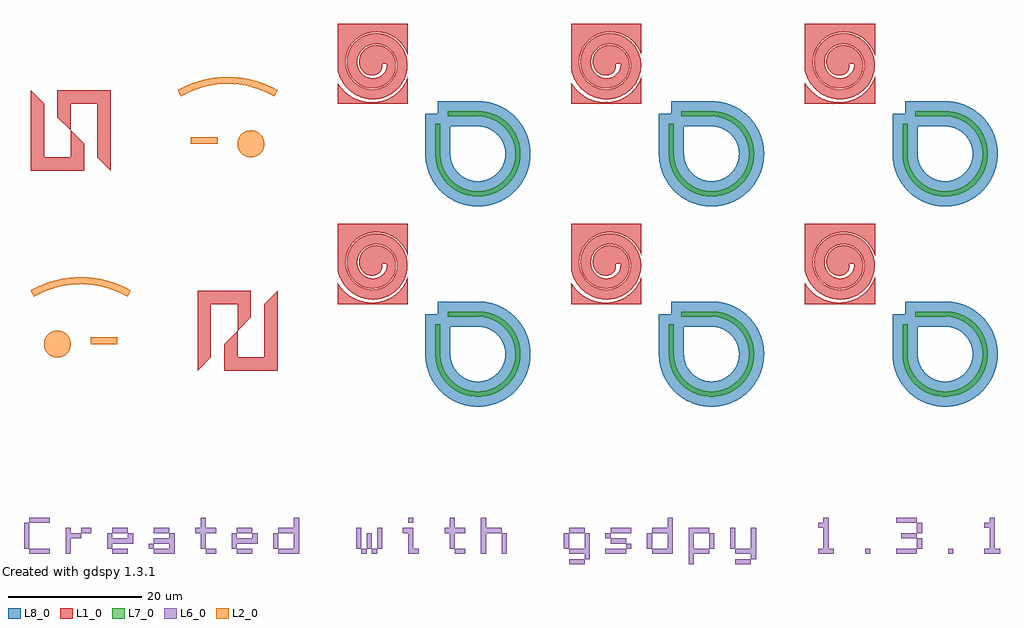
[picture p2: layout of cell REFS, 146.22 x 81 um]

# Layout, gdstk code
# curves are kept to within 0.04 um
from math import pi, radians
import gdstk
lib = gdstk.Library(unit=1e-6, precision=1e-09)
def R(c, l, rs):  # rectangles x0, y0, x1, y1
    for r in rs: c.add(gdstk.rectangle(r[:2], r[2:], *l))
def P(c, l, *ps):  # polygons
    for p in ps: c.add(gdstk.Polygon(p, *l))
L1_0 = (1, 0)
L2_0 = (2, 0)
L6_0 = (6, 0)
L7_0 = (7, 0)
L8_0 = (8, 0)

polygons = lib.new_cell('POLYGONS')
P(polygons, L1_0, [(0,0),(2,2),(2,6),(-6,6),(-6,-6),(-4,-4),(-4,4),(0,4)],
  [(0,0),(-2,-2),(-2,-6),(6,-6),(6,6),(4,4),(4,-4),(0,-4)])
R(polygons, L2_0, [(18,1,22,2)])
P(polygons, L2_0, [(27,2),(29,2),(28.953,2.433),(28.813,2.845),(28.575,3.233),(28.271,3.545)],
  [(27,2),(28.247,3.564),(28.15,3.637),(27.778,3.843),(27.39,3.962),(26.957,4),(26.555,3.95)],
  [(27,2),(26.555,3.95),(26.089,3.781),(25.656,3.482),(25.198,2.868)],
  [(27,2),(25.198,2.868),(25.172,2.813),(25.048,2.438),(25,1.965),(25.048,1.562),(25.198,1.132)],
  [(27,2),(25.198,1.132),(25.656,0.518),(26.089,0.219),(26.555,0.05)],
  [(27,2),(26.555,0.05),(26.957,0),(27.39,0.038),(27.778,0.157),(28.15,0.363),(28.247,0.436)],
  [(27,2),(28.271,0.455),(28.575,0.767),(28.813,1.155),(28.953,1.567),(29,2)],
  [(16,-5.99),(16.866,-6.453),(17.308,-5.556),(16.5,-5.124)],
  [(16.866,-6.453),(17.76,-6.858),(18.142,-5.934),(17.308,-5.556)],
  [(17.76,-6.858),(18.678,-7.204),(19,-6.257),(18.142,-5.934)],
  [(18.678,-7.204),(19.618,-7.489),(19.877,-6.523),(19,-6.257)],
  [(19.618,-7.489),(20.574,-7.712),(20.769,-6.731),(19.877,-6.523)],
  [(20.574,-7.712),(21.542,-7.872),(21.673,-6.88),(20.769,-6.731)],
  [(21.542,-7.872),(22.519,-7.968),(22.584,-6.97),(21.673,-6.88)],
  [(22.519,-7.968),(23.5,-8),(23.5,-7),(22.584,-6.97)],
  [(23.5,-8),(24.481,-7.968),(24.416,-6.97),(23.5,-7)],
  [(24.481,-7.968),(25.458,-7.872),(25.327,-6.88),(24.416,-6.97)],
  [(25.458,-7.872),(26.426,-7.712),(26.231,-6.731),(25.327,-6.88)],
  [(26.426,-7.712),(27.382,-7.489),(27.123,-6.523),(26.231,-6.731)],
  [(27.382,-7.489),(28.322,-7.204),(28,-6.257),(27.123,-6.523)],
  [(28.322,-7.204),(29.24,-6.858),(28.858,-5.934),(28,-6.257)],
  [(29.24,-6.858),(30.134,-6.453),(29.692,-5.556),(28.858,-5.934)],
  [(30.134,-6.453),(31,-5.99),(30.5,-5.124),(29.692,-5.556)])

operations = lib.new_cell('OPERATIONS')
P(operations, L1_0, [(17,-1.27),(16.542,-2.223),(15.813,-3.017),(15.321,-3.355),(14.869,-3.576),(14.289,-3.761),(13.783,-3.843),(12.75,-3.802),(12.139,-3.644),(11.651,-3.437),(10.767,-2.832),(10.389,-2.442),(10,-1.901),(10,-4),(17,-4)],
  [(13.679,-3.547),(14.515,-3.407),(15.364,-3.026),(16.074,-2.44),(16.586,-1.715),(15.343,-1.715),(14.96,-2.068),(14.506,-2.335),(13.996,-2.502),(13.524,-2.557),(12.974,-2.509),(12.438,-2.342),(11.943,-2.061),(11.549,-1.715),(10.39,-1.715),(10.978,-2.489),(11.833,-3.126),(12.733,-3.462)],
  [(13.595,-2.454),(14.046,-2.388),(14.472,-2.241),(14.856,-2.021),(15.207,-1.715),(11.689,-1.715),(12.064,-2.024),(12.547,-2.28),(13.066,-2.424)],
  [(11.513,-1.675),(11.207,-1.263),(10.982,-0.8),(10.023,-0.8),(10.39,-1.715),(11.549,-1.715)],
  [(15.229,-1.691),(15.519,-1.296),(15.731,-0.8),(14.72,-0.8),(14.498,-1.074),(14.231,-1.272),(13.844,-1.423),(13.535,-1.459),(13.18,-1.421),(12.836,-1.296),(12.525,-1.087),(12.264,-0.8),(11.091,-0.8),(11.334,-1.277),(11.689,-1.715)],
  [(13.529,-1.167),(13.914,-1.061),(14.247,-0.8),(12.55,-0.8),(12.754,-0.966),(13.005,-1.094),(13.301,-1.165)],
  [(16.597,-1.695),(16.909,-0.8),(15.835,-0.8),(15.633,-1.299),(15.343,-1.715)],
  [(10.98,-0.795),(10.821,-0.137),(10.816,0.472),(10,0.472),(10.023,-0.8)],
  [(12.242,-0.769),(11.99,-0.161),(11.987,0.472),(10.921,0.472),(10.924,-0.132),(11.091,-0.8)],
  [(15.747,-0.743),(15.817,-0.162),(15.711,0.472),(12.16,0.472),(12.14,0.138),(12.203,-0.22),(12.346,-0.54),(12.55,-0.8),(14.247,-0.8),(14.442,-0.381),(14.41,0),(14.91,0),(14.882,-0.406),(14.72,-0.8),(15.731,-0.8)],
  [(16.916,-0.762),(16.971,-0.142),(16.909,0.472),(15.82,0.472),(15.92,-0.169),(15.835,-0.8)],
  [(10.816,0.475),(10.968,1.158),(11.262,1.762),(10,1.762),(10,0.472)],
  [(11.988,0.477),(12.095,0.838),(12.31,1.214),(12.614,1.535),(12.961,1.762),(11.393,1.762),(11.066,1.116),(10.921,0.472)],
  [(15.698,0.511),(15.31,1.178),(14.726,1.637),(14.422,1.762),(13.307,1.762),(12.879,1.557),(12.533,1.254),(12.29,0.882),(12.16,0.472)],
  [(16.891,0.558),(16.702,1.138),(16.343,1.762),(14.731,1.762),(15.07,1.552),(15.399,1.241),(15.659,0.859),(15.82,0.472),(16.909,0.472)],
  [(17,1.762),(16.538,1.762),(16.821,1.28),(17,0.825)],
  [(17,4),(10,4),(10,1.762),(11.262,1.762),(11.809,2.4),(12.414,2.815),(13.112,3.079),(13.864,3.169),(14.543,3.096),(15.201,2.877),(15.944,2.409),(16.538,1.762),(17,1.762)],
  [(16.31,1.807),(15.776,2.355),(15.21,2.718),(14.507,2.968),(13.774,3.042),(13.133,2.959),(12.461,2.709),(11.878,2.31),(11.393,1.762),(12.961,1.762),(13.382,1.917),(13.85,1.971),(14.329,1.91),(14.731,1.762),(16.343,1.762)],
  [(14.389,1.772),(14.24,1.809),(14.089,1.834),(13.839,1.848),(13.592,1.828),(13.448,1.801),(13.307,1.762),(14.422,1.762)])
R(operations, L7_0, [(19.75,-9,20.25,-6), (21,-5.25,24,-4.75)])
P(operations, L7_0, [(24,-4.75),(24.946,-4.857),(24.834,-5.344),(24,-5.25)],
  [(24.946,-4.857),(25.844,-5.171),(25.627,-5.621),(24.834,-5.344)],
  [(25.844,-5.171),(26.65,-5.677),(26.338,-6.068),(25.627,-5.621)],
  [(26.65,-5.677),(27.323,-6.35),(26.932,-6.662),(26.338,-6.068)],
  [(27.323,-6.35),(27.829,-7.156),(27.379,-7.373),(26.932,-6.662)],
  [(27.829,-7.156),(28.143,-8.054),(27.656,-8.166),(27.379,-7.373)],
  [(28.143,-8.054),(28.25,-9),(27.75,-9),(27.656,-8.166)],
  [(28.25,-9),(28.143,-9.946),(27.656,-9.834),(27.75,-9)],
  [(28.143,-9.946),(27.829,-10.844),(27.379,-10.627),(27.656,-9.834)],
  [(27.829,-10.844),(27.323,-11.65),(26.932,-11.338),(27.379,-10.627)],
  [(27.323,-11.65),(26.65,-12.323),(26.338,-11.932),(26.932,-11.338)],
  [(26.65,-12.323),(25.844,-12.829),(25.627,-12.379),(26.338,-11.932)],
  [(25.844,-12.829),(24.946,-13.143),(24.834,-12.656),(25.627,-12.379)],
  [(24.946,-13.143),(24,-13.25),(24,-12.75),(24.834,-12.656)],
  [(24,-13.25),(23.054,-13.143),(23.166,-12.656),(24,-12.75)],
  [(23.054,-13.143),(22.156,-12.829),(22.373,-12.379),(23.166,-12.656)],
  [(22.156,-12.829),(21.35,-12.323),(21.662,-11.932),(22.373,-12.379)],
  [(21.35,-12.323),(20.677,-11.65),(21.068,-11.338),(21.662,-11.932)],
  [(20.677,-11.65),(20.171,-10.844),(20.621,-10.627),(21.068,-11.338)],
  [(20.171,-10.844),(19.857,-9.946),(20.344,-9.834),(20.621,-10.627)],
  [(19.857,-9.946),(19.75,-9),(20.25,-9),(20.344,-9.834)])
R(operations, L8_0, [(18.75,-8.286,21.25,-6.763)])
P(operations, L8_0, [(24.121,-14.249),(25.217,-14.108),(26.234,-13.752),(21.766,-13.752),(22.248,-13.952),(22.872,-14.128),(23.481,-14.225)],
  [(26.243,-13.747),(27.083,-13.251),(27.952,-12.457),(20.048,-12.457),(20.917,-13.251),(21.766,-13.752)],
  [(27.969,-12.437),(28.548,-11.623),(24.817,-11.623),(24,-11.75),(23.183,-11.623),(19.452,-11.623),(20.048,-12.457)],
  [(23.171,-11.62),(22.712,-11.43),(22.251,-11.121),(19.197,-11.121),(19.452,-11.623)],
  [(28.551,-11.617),(28.803,-11.121),(25.749,-11.121),(25.288,-11.43),(24.817,-11.623)],
  [(22.244,-11.116),(21.888,-10.761),(21.589,-10.32),(18.918,-10.32),(19.197,-11.121)],
  [(28.811,-11.102),(29.082,-10.32),(26.411,-10.32),(26.112,-10.761),(25.749,-11.121)],
  [(21.585,-10.314),(21.288,-9.447),(18.768,-9.447),(18.918,-10.32)],
  [(29.086,-10.306),(29.232,-9.447),(26.712,-9.447),(26.6,-9.895),(26.411,-10.32)],
  [(18.751,-9.123),(18.768,-9.447),(21.288,-9.447),(21.25,-8.286),(18.75,-8.286)],
  [(29.233,-9.435),(29.202,-8.286),(26.653,-8.286),(26.747,-8.895),(26.712,-9.447)],
  [(29.201,-8.276),(29.057,-7.583),(28.751,-6.763),(25.599,-6.763),(25.952,-7.063),(26.283,-7.467),(26.653,-8.286)],
  [(28.747,-6.754),(28.366,-6.08),(27.885,-5.467),(18.75,-5.467),(18.75,-6.763),(21.25,-6.763),(21.25,-6.25),(24.335,-6.271),(24.965,-6.425),(25.599,-6.763)],
  [(27.877,-5.459),(27.117,-4.774),(26.246,-4.253),(25.32,-3.917),(24.301,-3.757),(20,-3.75),(20,-5),(18.75,-5),(18.75,-5.467)])

refs = lib.new_cell('REFS')
R(refs, L6_0, [(43.556,-33.444,44.333,-32.667), (45.111,-33.444,45.889,-32.667), (119,-33.444,119.778,-32.667), (131.444,-33.444,132.222,-32.667), (11.667,-32.667,12.444,-31.889), (83.222,-32.667,84,-31.889), (80.111,-31.111,80.889,-30.333), (50.556,-28.778,51.333,-28)])
P(refs, L6_0, [(-7,-32.667),(-6.222,-32.667),(-6.222,-31.889),(-6.222,-31.111),(-6.222,-30.333),(-6.222,-29.556),(-6.222,-28.778),(-7,-28.778),(-7,-29.556),(-7,-30.333),(-7,-31.111),(-7,-31.889)],
  [(-6.222,-33.444),(-5.444,-33.444),(-4.667,-33.444),(-3.889,-33.444),(-3.111,-33.444),(-3.111,-32.667),(-3.889,-32.667),(-4.667,-32.667),(-5.444,-32.667),(-6.222,-32.667)],
  [(-6.222,-28.778),(-5.444,-28.778),(-4.667,-28.778),(-3.889,-28.778),(-3.111,-28.778),(-3.111,-28),(-3.889,-28),(-4.667,-28),(-5.444,-28),(-6.222,-28)],
  [(-0.778,-33.444),(0,-33.444),(0,-32.667),(0,-31.889),(0,-31.111),(0.778,-31.111),(1.556,-31.111),(1.556,-30.333),(0.778,-30.333),(0,-30.333),(0,-29.556),(-0.778,-29.556),(-0.778,-30.333),(-0.778,-31.111),(-0.778,-31.889),(-0.778,-32.667)],
  [(1.556,-30.333),(2.333,-30.333),(3.111,-30.333),(3.111,-29.556),(2.333,-29.556),(1.556,-29.556)],
  [(5.444,-32.667),(6.222,-32.667),(6.222,-31.889),(7,-31.889),(7.778,-31.889),(8.556,-31.889),(9.333,-31.889),(9.333,-31.111),(9.333,-30.333),(8.556,-30.333),(8.556,-31.111),(7.778,-31.111),(7,-31.111),(6.222,-31.111),(6.222,-30.333),(5.444,-30.333),(5.444,-31.111),(5.444,-31.889)],
  [(6.222,-33.444),(7,-33.444),(7.778,-33.444),(8.556,-33.444),(8.556,-32.667),(7.778,-32.667),(7,-32.667),(6.222,-32.667)],
  [(6.222,-30.333),(7,-30.333),(7.778,-30.333),(8.556,-30.333),(8.556,-29.556),(7.778,-29.556),(7,-29.556),(6.222,-29.556)],
  [(12.444,-33.444),(13.222,-33.444),(14,-33.444),(14.778,-33.444),(15.556,-33.444),(15.556,-32.667),(15.556,-31.889),(15.556,-31.111),(15.556,-30.333),(14.778,-30.333),(14.778,-31.111),(14,-31.111),(13.222,-31.111),(12.444,-31.111),(12.444,-31.889),(13.222,-31.889),(14,-31.889),(14.778,-31.889),(14.778,-32.667),(14,-32.667),(13.222,-32.667),(12.444,-32.667)],
  [(12.444,-30.333),(13.222,-30.333),(14,-30.333),(14.778,-30.333),(14.778,-29.556),(14,-29.556),(13.222,-29.556),(12.444,-29.556)],
  [(18.667,-30.333),(19.444,-30.333),(19.444,-31.111),(19.444,-31.889),(19.444,-32.667),(20.222,-32.667),(20.222,-31.889),(20.222,-31.111),(20.222,-30.333),(21,-30.333),(21.778,-30.333),(21.778,-29.556),(21,-29.556),(20.222,-29.556),(20.222,-28.778),(20.222,-28),(19.444,-28),(19.444,-28.778),(19.444,-29.556),(18.667,-29.556)],
  [(20.222,-33.444),(21,-33.444),(21.778,-33.444),(21.778,-32.667),(21,-32.667),(20.222,-32.667)],
  [(24.111,-32.667),(24.889,-32.667),(24.889,-31.889),(25.667,-31.889),(26.444,-31.889),(27.222,-31.889),(28,-31.889),(28,-31.111),(28,-30.333),(27.222,-30.333),(27.222,-31.111),(26.444,-31.111),(25.667,-31.111),(24.889,-31.111),(24.889,-30.333),(24.111,-30.333),(24.111,-31.111),(24.111,-31.889)],
  [(24.889,-33.444),(25.667,-33.444),(26.444,-33.444),(27.222,-33.444),(27.222,-32.667),(26.444,-32.667),(25.667,-32.667),(24.889,-32.667)],
  [(24.889,-30.333),(25.667,-30.333),(26.444,-30.333),(27.222,-30.333),(27.222,-29.556),(26.444,-29.556),(25.667,-29.556),(24.889,-29.556)],
  [(30.333,-32.667),(31.111,-32.667),(31.111,-31.889),(31.111,-31.111),(31.111,-30.333),(30.333,-30.333),(30.333,-31.111),(30.333,-31.889)],
  [(31.111,-33.444),(31.889,-33.444),(32.667,-33.444),(33.444,-33.444),(34.222,-33.444),(34.222,-32.667),(34.222,-31.889),(34.222,-31.111),(34.222,-30.333),(34.222,-29.556),(34.222,-28.778),(34.222,-28),(33.444,-28),(33.444,-28.778),(33.444,-29.556),(32.667,-29.556),(31.889,-29.556),(31.111,-29.556),(31.111,-30.333),(31.889,-30.333),(32.667,-30.333),(33.444,-30.333),(33.444,-31.111),(33.444,-31.889),(33.444,-32.667),(32.667,-32.667),(31.889,-32.667),(31.111,-32.667)],
  [(42.778,-32.667),(43.556,-32.667),(43.556,-31.889),(43.556,-31.111),(43.556,-30.333),(43.556,-29.556),(42.778,-29.556),(42.778,-30.333),(42.778,-31.111),(42.778,-31.889)],
  [(44.333,-32.667),(45.111,-32.667),(45.111,-31.889),(45.111,-31.111),(45.111,-30.333),(44.333,-30.333),(44.333,-31.111),(44.333,-31.889)],
  [(45.889,-32.667),(46.667,-32.667),(46.667,-31.889),(46.667,-31.111),(46.667,-30.333),(46.667,-29.556),(45.889,-29.556),(45.889,-30.333),(45.889,-31.111),(45.889,-31.889)],
  [(49.778,-30.333),(50.556,-30.333),(50.556,-31.111),(50.556,-31.889),(50.556,-32.667),(50.556,-33.444),(51.333,-33.444),(52.111,-33.444),(52.111,-32.667),(51.333,-32.667),(51.333,-31.889),(51.333,-31.111),(51.333,-30.333),(51.333,-29.556),(50.556,-29.556),(49.778,-29.556)],
  [(56,-30.333),(56.778,-30.333),(56.778,-31.111),(56.778,-31.889),(56.778,-32.667),(57.556,-32.667),(57.556,-31.889),(57.556,-31.111),(57.556,-30.333),(58.333,-30.333),(59.111,-30.333),(59.111,-29.556),(58.333,-29.556),(57.556,-29.556),(57.556,-28.778),(57.556,-28),(56.778,-28),(56.778,-28.778),(56.778,-29.556),(56,-29.556)],
  [(57.556,-33.444),(58.333,-33.444),(59.111,-33.444),(59.111,-32.667),(58.333,-32.667),(57.556,-32.667)],
  [(61.444,-33.444),(62.222,-33.444),(62.222,-32.667),(62.222,-31.889),(62.222,-31.111),(62.222,-30.333),(63,-30.333),(63.778,-30.333),(64.556,-30.333),(64.556,-29.556),(63.778,-29.556),(63,-29.556),(62.222,-29.556),(62.222,-28.778),(62.222,-28),(61.444,-28),(61.444,-28.778),(61.444,-29.556),(61.444,-30.333),(61.444,-31.111),(61.444,-31.889),(61.444,-32.667)],
  [(64.556,-33.444),(65.333,-33.444),(65.333,-32.667),(65.333,-31.889),(65.333,-31.111),(65.333,-30.333),(64.556,-30.333),(64.556,-31.111),(64.556,-31.889),(64.556,-32.667)],
  [(73.889,-32.667),(74.667,-32.667),(74.667,-31.889),(74.667,-31.111),(74.667,-30.333),(73.889,-30.333),(73.889,-31.111),(73.889,-31.889)],
  [(74.667,-35),(75.444,-35),(76.222,-35),(77,-35),(77,-34.222),(76.222,-34.222),(75.444,-34.222),(74.667,-34.222)],
  [(74.667,-33.444),(75.444,-33.444),(76.222,-33.444),(77,-33.444),(77,-34.222),(77.778,-34.222),(77.778,-33.444),(77.778,-32.667),(77.778,-31.889),(77.778,-31.111),(77.778,-30.333),(77,-30.333),(77,-31.111),(77,-31.889),(77,-32.667),(76.222,-32.667),(75.444,-32.667),(74.667,-32.667)],
  [(74.667,-30.333),(75.444,-30.333),(76.222,-30.333),(77,-30.333),(77,-29.556),(76.222,-29.556),(75.444,-29.556),(74.667,-29.556)],
  [(80.111,-33.444),(80.889,-33.444),(81.667,-33.444),(82.444,-33.444),(83.222,-33.444),(83.222,-32.667),(82.444,-32.667),(81.667,-32.667),(80.889,-32.667),(80.111,-32.667)],
  [(80.889,-31.889),(81.667,-31.889),(82.444,-31.889),(83.222,-31.889),(83.222,-31.111),(82.444,-31.111),(81.667,-31.111),(80.889,-31.111)],
  [(80.889,-30.333),(81.667,-30.333),(82.444,-30.333),(83.222,-30.333),(84,-30.333),(84,-29.556),(83.222,-29.556),(82.444,-29.556),(81.667,-29.556),(80.889,-29.556)],
  [(86.333,-32.667),(87.111,-32.667),(87.111,-31.889),(87.111,-31.111),(87.111,-30.333),(86.333,-30.333),(86.333,-31.111),(86.333,-31.889)],
  [(87.111,-33.444),(87.889,-33.444),(88.667,-33.444),(89.444,-33.444),(90.222,-33.444),(90.222,-32.667),(90.222,-31.889),(90.222,-31.111),(90.222,-30.333),(90.222,-29.556),(90.222,-28.778),(90.222,-28),(89.444,-28),(89.444,-28.778),(89.444,-29.556),(88.667,-29.556),(87.889,-29.556),(87.111,-29.556),(87.111,-30.333),(87.889,-30.333),(88.667,-30.333),(89.444,-30.333),(89.444,-31.111),(89.444,-31.889),(89.444,-32.667),(88.667,-32.667),(87.889,-32.667),(87.111,-32.667)],
  [(92.556,-35),(93.333,-35),(93.333,-34.222),(93.333,-33.444),(94.111,-33.444),(94.889,-33.444),(95.667,-33.444),(95.667,-32.667),(94.889,-32.667),(94.111,-32.667),(93.333,-32.667),(93.333,-31.889),(93.333,-31.111),(93.333,-30.333),(94.111,-30.333),(94.889,-30.333),(95.667,-30.333),(95.667,-29.556),(94.889,-29.556),(94.111,-29.556),(93.333,-29.556),(92.556,-29.556),(92.556,-30.333),(92.556,-31.111),(92.556,-31.889),(92.556,-32.667),(92.556,-33.444),(92.556,-34.222)],
  [(95.667,-32.667),(96.444,-32.667),(96.444,-31.889),(96.444,-31.111),(96.444,-30.333),(95.667,-30.333),(95.667,-31.111),(95.667,-31.889)],
  [(98.778,-32.667),(99.556,-32.667),(99.556,-31.889),(99.556,-31.111),(99.556,-30.333),(99.556,-29.556),(98.778,-29.556),(98.778,-30.333),(98.778,-31.111),(98.778,-31.889)],
  [(99.556,-35),(100.333,-35),(101.111,-35),(101.889,-35),(101.889,-34.222),(101.111,-34.222),(100.333,-34.222),(99.556,-34.222)],
  [(99.556,-33.444),(100.333,-33.444),(101.111,-33.444),(101.889,-33.444),(101.889,-34.222),(102.667,-34.222),(102.667,-33.444),(102.667,-32.667),(102.667,-31.889),(102.667,-31.111),(102.667,-30.333),(102.667,-29.556),(101.889,-29.556),(101.889,-30.333),(101.889,-31.111),(101.889,-31.889),(101.889,-32.667),(101.111,-32.667),(100.333,-32.667),(99.556,-32.667)],
  [(112,-33.444),(112.778,-33.444),(113.556,-33.444),(114.333,-33.444),(114.333,-32.667),(113.556,-32.667),(113.556,-31.889),(113.556,-31.111),(113.556,-30.333),(113.556,-29.556),(113.556,-28.778),(113.556,-28),(112.778,-28),(112.778,-28.778),(112,-28.778),(112,-29.556),(112.778,-29.556),(112.778,-30.333),(112.778,-31.111),(112.778,-31.889),(112.778,-32.667),(112,-32.667)],
  [(123.667,-33.444),(124.444,-33.444),(125.222,-33.444),(126,-33.444),(126.778,-33.444),(126.778,-32.667),(126,-32.667),(125.222,-32.667),(124.444,-32.667),(123.667,-32.667)],
  [(123.667,-28.778),(124.444,-28.778),(125.222,-28.778),(126,-28.778),(126.778,-28.778),(126.778,-28),(126,-28),(125.222,-28),(124.444,-28),(123.667,-28)],
  [(124.444,-31.111),(125.222,-31.111),(126,-31.111),(126.778,-31.111),(126.778,-30.333),(126,-30.333),(125.222,-30.333),(124.444,-30.333)],
  [(126.778,-32.667),(127.556,-32.667),(127.556,-31.889),(127.556,-31.111),(126.778,-31.111),(126.778,-31.889)],
  [(126.778,-30.333),(127.556,-30.333),(127.556,-29.556),(127.556,-28.778),(126.778,-28.778),(126.778,-29.556)],
  [(136.889,-33.444),(137.667,-33.444),(138.444,-33.444),(139.222,-33.444),(139.222,-32.667),(138.444,-32.667),(138.444,-31.889),(138.444,-31.111),(138.444,-30.333),(138.444,-29.556),(138.444,-28.778),(138.444,-28),(137.667,-28),(137.667,-28.778),(136.889,-28.778),(136.889,-29.556),(137.667,-29.556),(137.667,-30.333),(137.667,-31.111),(137.667,-31.889),(137.667,-32.667),(136.889,-32.667)])
refs.add(gdstk.Reference(polygons, (0,30), x_reflection=True))
refs.add(gdstk.Reference(polygons, (25,0), rotation=pi))
r = gdstk.Reference(operations, (25,10), magnification=1.5); r.repetition = gdstk.Repetition(3, 2, v1=(35,0), v2=(0,30)); refs.add(r)
refs.add(gdstk.Label('Created with gdspy 1.3.1', (-7,-36), layer=6, texttype=0))

lib.write_gds('REFS.gds')
